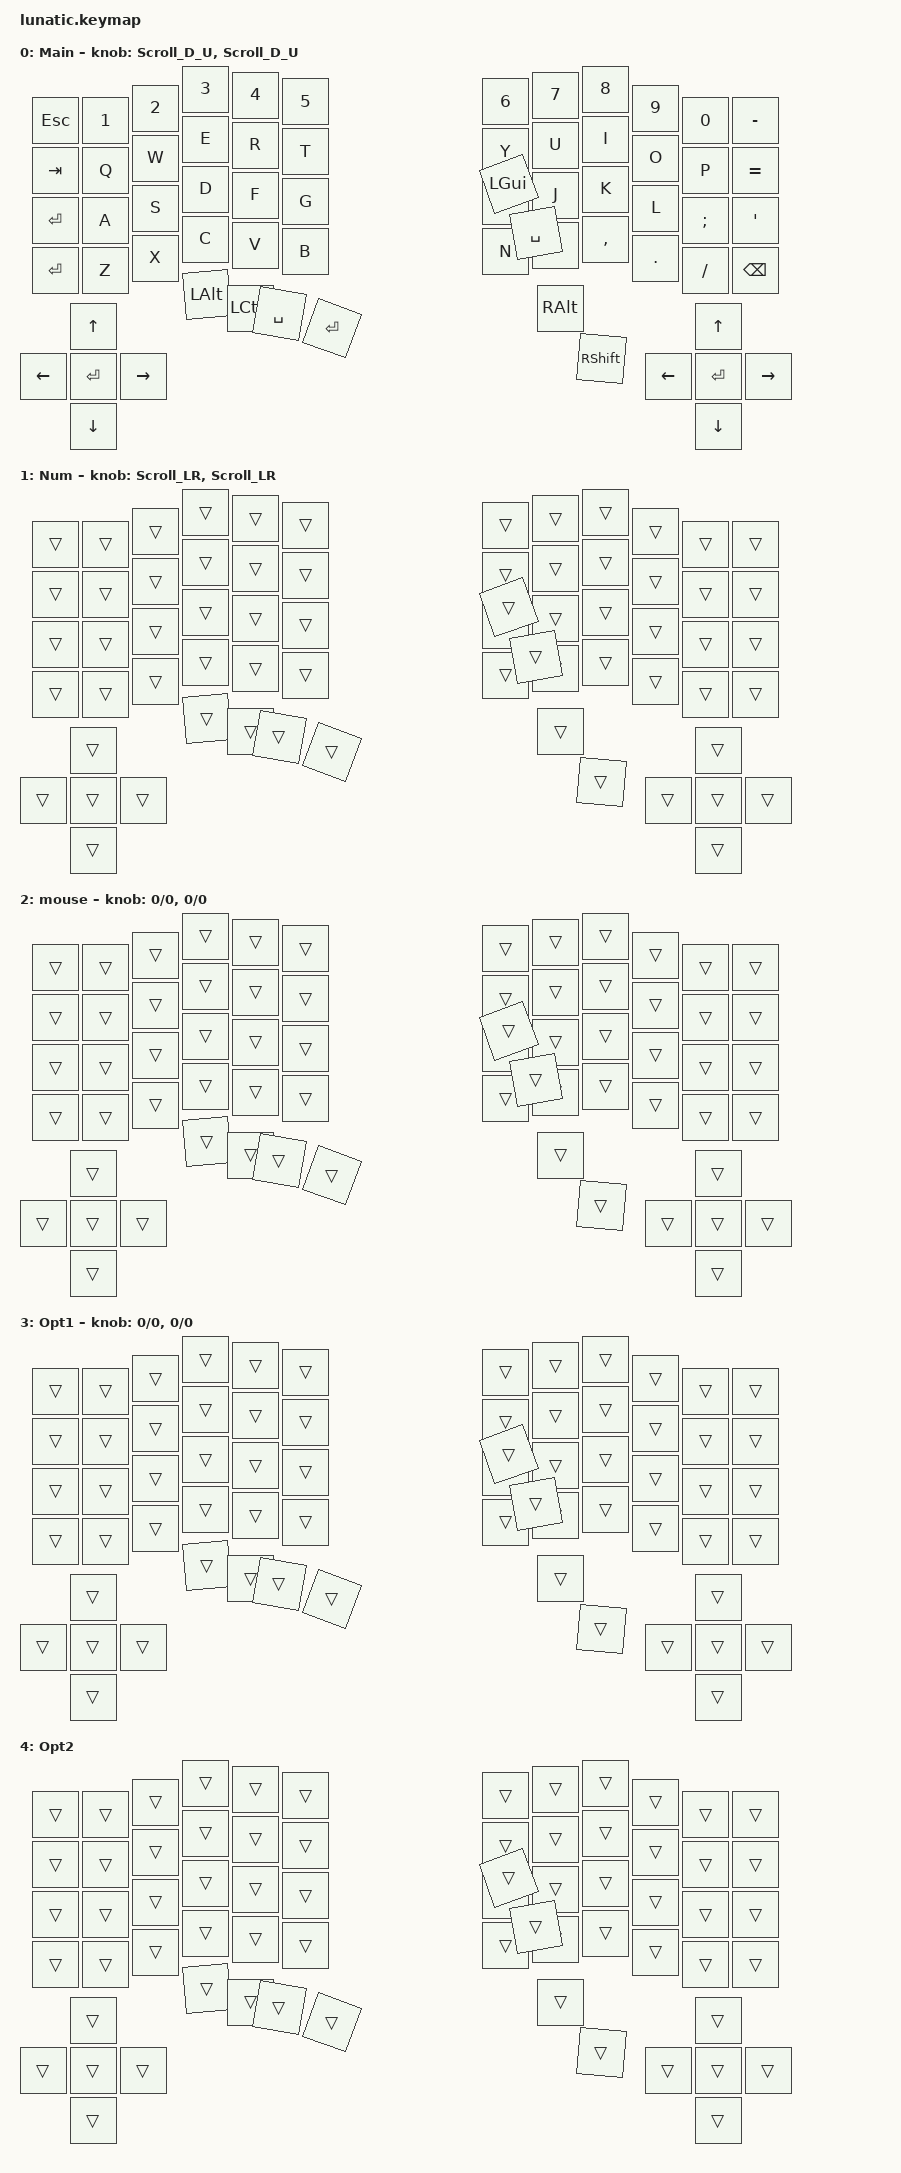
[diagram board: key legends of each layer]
/*
 * Copyright (c) 2020 The ZMK Contributors
 *
 * SPDX-License-Identifier: MIT
 */

#include <dt-bindings/zmk/input_transform.h>
#include <input/processors.dtsi>
#include <zephyr/dt-bindings/input/input-event-codes.h>
#include <dt-bindings/zmk/mouse.h>
#include <behaviors/mouse_keys.dtsi>

//#include <interfaces/hid-trackball.dtsi>  //zmk-hid-trackball-interface

#include <behaviors.dtsi>
#include <dt-bindings/zmk/keys.h>
#include <dt-bindings/zmk/pointing.h>

#define Main 0
#define Num 1
#define Mouse 2
#define Opt1 3
#define Opt2 4
#define ZMK_POINTING_DEFAULT_MOVE_VAL 1200  // 600
#define ZMK_POINTING_DEFAULT_SCRL_VAL 900   // mousescroll SPEED

&mmv_input_listener { input-processors = <&zip_xy_scaler 2 1>; };

&msc_input_listener { input-processors = <&zip_scroll_scaler 2 1>; };

&msc {
    acceleration-exponent = <1>;      // 0
    time-to-max-speed-ms = <100>;       // 300
    delay-ms = <0>;                   // 0
};

&mmv {
    time-to-max-speed-ms = <500>;
    acceleration-exponent = <1>;
    trigger-period-ms = <16>;
};

&soft_off {
    hold-time-ms = <3000>; // Only turn off it the key is held for 3 seconds or longer.
};

&mt {
    tapping-term-ms = <300>;
    flavor = "tap-preferred";
};

/ {
    input_processors {
        zip_wheel_scaler: zip_wheel_scaler {
            compatible = "zmk,input-processor-scaler";
            #input-processor-cells = <2>;
            type = <INPUT_EV_REL>;
            codes = <INPUT_REL_WHEEL>;
            track-remainders;
        };
    };
};

&msc_input_listener {
    speed_up {
        layers = <Mouse>;
        input-processors = <&zip_wheel_scaler 3 1>; //scroll faster x3
    };
};

&trackball_listener {
    scroller {
        layers = <Mouse>;
        input-processors =
            <&zip_xy_transform INPUT_TRANSFORM_Y_INVERT>,
            <&zip_xy_to_scroll_mapper>;
    };
};

/ {
    behaviors {
        Scroll_D_U: Scroll_D_U {
            compatible = "zmk,behavior-sensor-rotate";
            label = "SCROLL_D_U";
            #sensor-binding-cells = <0>;
            bindings = <&msc SCRL_DOWN>, <&msc SCRL_UP>;

            tap-ms = <20>;
        };

        scrollball: scrollball {
            compatible = "zmk,behavior-tap-dance";
            label = "SCROLLBALL";
            #binding-cells = <0>;
            bindings = <&kp LEFT_SHIFT>, <&tog 2>;
        };

        Scroll_U_D: Scroll_U_D {
            compatible = "zmk,behavior-sensor-rotate";
            label = "SCROLL_U_D";
            #sensor-binding-cells = <0>;
            bindings = <&msc SCRL_UP>, <&msc SCRL_DOWN>;

            tap-ms = <20>;
        };

        Scroll_LR: Scroll_LR {
            compatible = "zmk,behavior-sensor-rotate";
            label = "SCROLL_LR";
            #sensor-binding-cells = <0>;
            bindings = <&msc SCRL_LEFT>, <&msc SCRL_RIGHT>;

            tap-ms = <20>;
        };

        Scroll_RL: Scroll_RL {
            compatible = "zmk,behavior-sensor-rotate";
            label = "SCROLL_RL";
            #sensor-binding-cells = <0>;
            bindings = <&msc SCRL_RIGHT>, <&msc SCRL_LEFT>;

            tap-ms = <20>;
        };
    };

    combos { compatible = "zmk,combos"; };

    keymap {
        compatible = "zmk,keymap";

        Main {
            display-name = "Main";
            bindings = <
&kp ESC  &kp N1    &kp N2    &kp N3    &kp N4     &kp N5     &kp N6     &kp N7    &kp N8     &kp N9    &kp N0     &kp MINUS
&kp TAB  &kp Q     &kp W     &kp E     &kp R      &kp T      &kp Y      &kp U     &kp I      &kp O     &kp P      &kp EQUAL
&kp RET  &kp A     &kp S     &kp D     &kp F      &kp G      &kp H      &kp J     &kp K      &kp L     &kp SEMI   &kp SQT
&kp RET  &kp Z     &kp X     &kp C     &kp V      &kp B      &kp N      &kp M     &kp COMMA  &kp DOT   &kp FSLH   &kp BSPC
                   &kp RET   &kp LALT  &kp LCTRL  &kp SPACE  &kp SPACE  &kp RALT  &kp RSHFT  &kp LGUI
         &kp LEFT  &kp DOWN  &kp RET   &kp UP     &kp RIGHT  &kp LEFT   &kp UP    &kp RET    &kp DOWN  &kp RIGHT
            >;

            sensor-bindings = <&Scroll_D_U>, <&Scroll_D_U>;
        };

        Num {
            display-name = "Num";
            bindings = <
&trans  &trans  &trans  &trans  &trans  &trans  &trans  &trans  &trans  &trans  &trans  &trans
&trans  &trans  &trans  &trans  &trans  &trans  &trans  &trans  &trans  &trans  &trans  &trans
&trans  &trans  &trans  &trans  &trans  &trans  &trans  &trans  &trans  &trans  &trans  &trans
&trans  &trans  &trans  &trans  &trans  &trans  &trans  &trans  &trans  &trans  &trans  &trans
                &trans  &trans  &trans  &trans  &trans  &trans  &trans  &trans
        &trans  &trans  &trans  &trans  &trans  &trans  &trans  &trans  &trans  &trans
            >;

            sensor-bindings = <&Scroll_LR>, <&Scroll_LR>;
        };

        Mouse {
            display-name = "mouse";
            bindings = <
&trans  &trans  &trans  &trans  &trans  &trans  &trans  &trans  &trans  &trans  &trans  &trans
&trans  &trans  &trans  &trans  &trans  &trans  &trans  &trans  &trans  &trans  &trans  &trans
&trans  &trans  &trans  &trans  &trans  &trans  &trans  &trans  &trans  &trans  &trans  &trans
&trans  &trans  &trans  &trans  &trans  &trans  &trans  &trans  &trans  &trans  &trans  &trans
                &trans  &trans  &trans  &trans  &trans  &trans  &trans  &trans
        &trans  &trans  &trans  &trans  &trans  &trans  &trans  &trans  &trans  &trans
            >;

            sensor-bindings = <&inc_dec_kp 0 0>, <&inc_dec_kp 0 0>;
        };

        Opt1 {
            bindings = <
&trans  &trans  &trans  &trans  &trans  &trans  &trans  &trans  &trans  &trans  &trans  &trans
&trans  &trans  &trans  &trans  &trans  &trans  &trans  &trans  &trans  &trans  &trans  &trans
&trans  &trans  &trans  &trans  &trans  &trans  &trans  &trans  &trans  &trans  &trans  &trans
&trans  &trans  &trans  &trans  &trans  &trans  &trans  &trans  &trans  &trans  &trans  &trans
                &trans  &trans  &trans  &trans  &trans  &trans  &trans  &trans
        &trans  &trans  &trans  &trans  &trans  &trans  &trans  &trans  &trans  &trans
            >;

            sensor-bindings = <&inc_dec_kp 0 0>, <&inc_dec_kp 0 0>;
        };

        Opt2 {
            bindings = <
&trans  &trans  &trans  &trans  &trans  &trans  &trans  &trans  &trans  &trans  &trans  &trans
&trans  &trans  &trans  &trans  &trans  &trans  &trans  &trans  &trans  &trans  &trans  &trans
&trans  &trans  &trans  &trans  &trans  &trans  &trans  &trans  &trans  &trans  &trans  &trans
&trans  &trans  &trans  &trans  &trans  &trans  &trans  &trans  &trans  &trans  &trans  &trans
                &trans  &trans  &trans  &trans  &trans  &trans  &trans  &trans
        &trans  &trans  &trans  &trans  &trans  &trans  &trans  &trans  &trans  &trans
            >;
        };
    };
};
